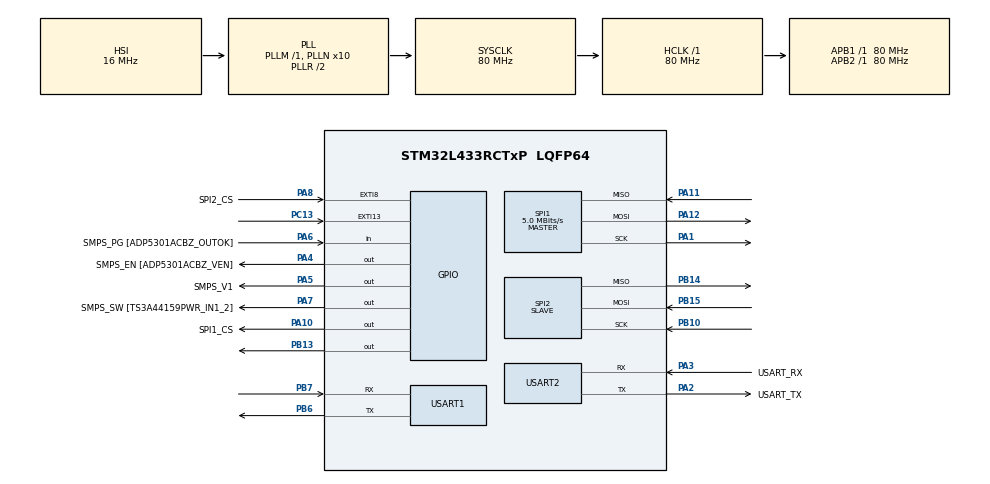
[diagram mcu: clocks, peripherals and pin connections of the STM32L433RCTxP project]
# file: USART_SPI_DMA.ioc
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Dma.Request0=SPI1_RX
Dma.Request1=SPI1_TX
Dma.Request2=SPI2_RX
Dma.Request3=SPI2_TX
Dma.SPI1_RX.0.Direction=DMA_PERIPH_TO_MEMORY
Dma.SPI1_RX.0.Instance=DMA1_Channel2
Dma.SPI1_RX.0.MemDataAlignment=DMA_MDATAALIGN_BYTE
Dma.SPI1_RX.0.MemInc=DMA_MINC_ENABLE
Dma.SPI1_RX.0.Mode=DMA_NORMAL
Dma.SPI1_RX.0.PeriphDataAlignment=DMA_PDATAALIGN_BYTE
Dma.SPI1_RX.0.PeriphInc=DMA_PINC_DISABLE
Dma.SPI1_RX.0.Priority=DMA_PRIORITY_LOW
Dma.SPI1_TX.1.Direction=DMA_MEMORY_TO_PERIPH
Dma.SPI1_TX.1.Instance=DMA1_Channel3
Dma.SPI1_TX.1.MemDataAlignment=DMA_MDATAALIGN_BYTE
Dma.SPI1_TX.1.MemInc=DMA_MINC_ENABLE
Dma.SPI1_TX.1.Mode=DMA_NORMAL
Dma.SPI1_TX.1.PeriphDataAlignment=DMA_PDATAALIGN_BYTE
Dma.SPI1_TX.1.PeriphInc=DMA_PINC_DISABLE
Dma.SPI1_TX.1.Priority=DMA_PRIORITY_LOW
Dma.SPI2_RX.2.Direction=DMA_PERIPH_TO_MEMORY
Dma.SPI2_RX.2.Instance=DMA1_Channel4
Dma.SPI2_RX.2.MemDataAlignment=DMA_MDATAALIGN_BYTE
Dma.SPI2_RX.2.MemInc=DMA_MINC_ENABLE
Dma.SPI2_RX.2.Mode=DMA_NORMAL
Dma.SPI2_RX.2.PeriphDataAlignment=DMA_PDATAALIGN_BYTE
Dma.SPI2_RX.2.PeriphInc=DMA_PINC_DISABLE
Dma.SPI2_RX.2.Priority=DMA_PRIORITY_LOW
Dma.SPI2_TX.3.Direction=DMA_MEMORY_TO_PERIPH
Dma.SPI2_TX.3.Instance=DMA1_Channel5
Dma.SPI2_TX.3.MemDataAlignment=DMA_MDATAALIGN_BYTE
Dma.SPI2_TX.3.MemInc=DMA_MINC_ENABLE
Dma.SPI2_TX.3.Mode=DMA_NORMAL
Dma.SPI2_TX.3.PeriphDataAlignment=DMA_PDATAALIGN_BYTE
Dma.SPI2_TX.3.PeriphInc=DMA_PINC_DISABLE
Dma.SPI2_TX.3.Priority=DMA_PRIORITY_LOW
Mcu.Family=STM32L4
Mcu.Name=STM32L433RCTxP
Mcu.Package=LQFP64
NVIC.DMA1_Channel2_IRQn=true\:0\:0\:false\:false\:true\:false\:true\:true
NVIC.DMA1_Channel3_IRQn=true\:0\:0\:false\:false\:true\:false\:true\:true
NVIC.DMA1_Channel4_IRQn=true\:0\:0\:false\:false\:true\:false\:true\:true
NVIC.DMA1_Channel5_IRQn=true\:0\:0\:false\:false\:true\:false\:true\:true
NVIC.EXTI15_10_IRQn=true\:0\:0\:false\:false\:true\:true\:true\:true
NVIC.EXTI9_5_IRQn=true\:0\:0\:false\:false\:true\:true\:true\:true
NVIC.PriorityGroup=NVIC_PRIORITYGROUP_4
NVIC.USART1_IRQn=true\:0\:0\:false\:false\:true\:true\:true\:true
NVIC.USART2_IRQn=true\:0\:0\:false\:false\:true\:true\:true\:true
PA1.Mode=Full_Duplex_Master
PA1.Signal=SPI1_SCK
PA10.GPIO_Label=SPI1_CS
PA10.PinState=GPIO_PIN_SET
PA10.Signal=GPIO_Output
PA11.Mode=Full_Duplex_Master
PA11.Signal=SPI1_MISO
PA12.Mode=Full_Duplex_Master
PA12.Signal=SPI1_MOSI
PA14\ (JTCK-SWCLK).GPIO_Label=TCK
PA14\ (JTCK-SWCLK).Signal=SYS_JTCK-SWCLK
PA2.GPIO_Label=USART_TX
PA2.GPIO_Mode=GPIO_MODE_AF_PP
PA2.GPIO_PuPd=GPIO_NOPULL
PA2.GPIO_Speed=GPIO_SPEED_FREQ_VERY_HIGH
PA2.Mode=Asynchronous
PA2.Signal=USART2_TX
PA3.GPIO_Label=USART_RX
PA3.GPIO_Mode=GPIO_MODE_AF_PP
PA3.GPIO_PuPd=GPIO_NOPULL
PA3.GPIO_Speed=GPIO_SPEED_FREQ_VERY_HIGH
PA3.Mode=Asynchronous
PA3.Signal=USART2_RX
PA4.GPIO_Label=SMPS_EN [ADP5301ACBZ_VEN]
PA4.Signal=GPIO_Output
PA5.GPIO_Label=SMPS_V1
PA5.GPIO_ModeDefaultOutputPP=GPIO_MODE_OUTPUT_PP
PA5.GPIO_PuPd=GPIO_NOPULL
PA5.GPIO_Speed=GPIO_SPEED_FREQ_LOW
PA5.Signal=GPIO_Output
PA6.GPIO_Label=SMPS_PG [ADP5301ACBZ_OUTOK]
PA6.GPIO_PuPd=GPIO_PULLUP
PA6.Signal=GPIO_Input
PA7.GPIO_Label=SMPS_SW [TS3A44159PWR_IN1_2]
PA7.Signal=GPIO_Output
PA8.GPIO_Label=SPI2_CS
PA8.GPIO_ModeDefaultEXTI=GPIO_MODE_IT_FALLING
PA8.GPIO_PuPd=GPIO_PULLUP
PA8.Signal=GPXTI8
PB10.Mode=Full_Duplex_Slave
PB10.Signal=SPI2_SCK
PB13.Signal=GPIO_Output
PB14.Mode=Full_Duplex_Slave
PB14.Signal=SPI2_MISO
PB15.Mode=Full_Duplex_Slave
PB15.Signal=SPI2_MOSI
PB3\ (JTDO-TRACESWO).GPIO_Label=SWO
PB3\ (JTDO-TRACESWO).Signal=SYS_JTDO-SWO
PB6.Mode=Asynchronous
PB6.Signal=USART1_TX
PB7.Mode=Asynchronous
PB7.Signal=USART1_RX
PC13.GPIO_ModeDefaultEXTI=GPIO_MODE_IT_RISING
PC13.Signal=GPXTI13
PC14-OSC32_IN\ (PC14).Mode=LSE-External-Oscillator
PC14-OSC32_IN\ (PC14).Signal=RCC_OSC32_IN
PC15-OSC32_OUT\ (PC15).Mode=LSE-External-Oscillator
PC15-OSC32_OUT\ (PC15).Signal=RCC_OSC32_OUT
PH0-OSC_IN\ (PH0).GPIO_Label=MCO
PH0-OSC_IN\ (PH0).Mode=HSE-External-Clock-Source
PH0-OSC_IN\ (PH0).Signal=RCC_OSC_IN
PH1-OSC_OUT\ (PH1).Signal=RCC_OSC_OUT
ProjectManager.HeapSize=0x200
ProjectManager.StackSize=0x400
ProjectManager.TargetToolchain=EWARM V8.32
RCC.ADCFreq_Value=64000000
RCC.AHBFreq_Value=80000000
RCC.APB1Freq_Value=80000000
RCC.APB1TimFreq_Value=80000000
RCC.APB2Freq_Value=80000000
RCC.APB2TimFreq_Value=80000000
RCC.CortexFreq_Value=80000000
RCC.HCLKFreq_Value=80000000
RCC.HSE_VALUE=8000000
RCC.HSI48_VALUE=48000000
RCC.HSI_VALUE=16000000
RCC.MSI_VALUE=4000000
RCC.PLLN=10
RCC.PLLSourceVirtual=RCC_PLLSOURCE_HSI
RCC.PREFETCH_ENABLE=1
RCC.SYSCLKFreq_VALUE=80000000
RCC.SYSCLKSource=RCC_SYSCLKSOURCE_PLLCLK
RCC.USBFreq_Value=64000000
RCC.VCOOutputFreq_Value=160000000
SPI1.BaudRatePrescaler=SPI_BAUDRATEPRESCALER_16
SPI1.CLKPhase=SPI_PHASE_2EDGE
SPI1.CalculateBaudRate=5.0 MBits/s
SPI1.DataSize=SPI_DATASIZE_8BIT
SPI1.Direction=SPI_DIRECTION_2LINES
SPI1.Mode=SPI_MODE_MASTER
SPI1.VirtualType=VM_MASTER
SPI2.CLKPhase=SPI_PHASE_2EDGE
SPI2.DataSize=SPI_DATASIZE_8BIT
SPI2.Direction=SPI_DIRECTION_2LINES
SPI2.Mode=SPI_MODE_SLAVE
SPI2.VirtualType=VM_SLAVE
USART1.VirtualMode-Asynchronous=VM_ASYNC
USART2.VirtualMode-Asynchronous=VM_ASYNC
board=NUCLEO-L433RC-P

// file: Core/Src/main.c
/* USER CODE BEGIN Header */
/**
******************************************************************************
* @file           : main.c
* @brief          : Main program body
******************************************************************************
* @attention
*
* Copyright (c) 2022 STMicroelectronics.
* All rights reserved.
*
* This software is licensed under terms that can be found in the LICENSE file
* in the root directory of this software component.
* If no LICENSE file comes with this software, it is provided AS-IS.
*
******************************************************************************
*/
/* USER CODE END Header */
#include "main.h"

SPI_HandleTypeDef hspi1;
SPI_HandleTypeDef hspi2;
DMA_HandleTypeDef hdma_spi1_rx;
DMA_HandleTypeDef hdma_spi1_tx;
DMA_HandleTypeDef hdma_spi2_rx;
DMA_HandleTypeDef hdma_spi2_tx;

UART_HandleTypeDef huart1;
UART_HandleTypeDef huart2;

/* USER CODE BEGIN PV */

uint8_t Test_rx[10];
uint8_t temp_rx1;
uint8_t tmep_rx2;
uint8_t temp_tx;
uint8_t temp_dumy=0;

uint8_t master_buf_len;
uint8_t slave_buf_len;

#define MAX_BUFFER_SIZE (256)

typedef struct{
  uint8_t head;
  uint8_t tail;
  uint8_t len;
  uint8_t buffer[MAX_BUFFER_SIZE];
}uart_buf;

uart_buf master_buf;
uart_buf slave_buf;

void init_C_que(uart_buf* u)
{
  u->head = 0;
  u->tail = 0;
  u->len = 0;
  memset(u->buffer, 0, sizeof(u->buffer));
}

void push(uart_buf* u, uint8_t data)
{
  u->buffer[u->head] = data;
  u->head++;
  u->len++;

  if (u->head >= MAX_BUFFER_SIZE) {
    u->head = 0;
  }
}

uint8_t pop(uart_buf* u)
{
  uint8_t data = u->buffer[u->tail];

  u->tail++;
  u->len--;
  if (u->tail >= MAX_BUFFER_SIZE) {
    u->tail = 0;
  }

  return data;
}

uint8_t spi_data_send_flag=0;
uint8_t slave_send_flag=0;

uint8_t test_uart2=0;

void HAL_GPIO_EXTI_Callback(uint16_t GPIO_Pin){
  if(GPIO_Pin == GPIO_PIN_8){
    // Falling Edge Intrrupt
    if(slave_send_flag == 0) spi_data_send_flag =1;

  }

}
void HAL_UART_RxCpltCallback(UART_HandleTypeDef *huart)
{
  // USART1 Rx Interrupt
  // PORT 5
  // SPI Master
  if (huart->Instance == USART1) {
    push(&master_buf, temp_rx1);
    HAL_UART_Receive_IT(&huart1, &temp_rx1, 1);

  }
  if(huart->Instance == USART2){
    // PORT 3
    // SPI Slave
    test_uart2++;
    push(&slave_buf,tmep_rx2);
    HAL_UART_Receive_IT(&huart2, &tmep_rx2, 1);

  }

}
/* USER CODE END PV */

void SystemClock_Config(void);
static void MX_GPIO_Init(void);
static void MX_DMA_Init(void);
static void MX_USART2_UART_Init(void);
static void MX_SPI2_Init(void);
static void MX_SPI1_Init(void);
static void MX_USART1_UART_Init(void);

uint8_t test=0;
int main(void)
{

  /* MCU Configuration--------------------------------------------------------*/

  /* Reset of all peripherals, Initializes the Flash interface and the Systick. */
  HAL_Init();

  /* Configure the system clock */
  SystemClock_Config();

  /* Initialize all configured peripherals */
  MX_GPIO_Init();
  MX_DMA_Init();
  MX_USART2_UART_Init();
  MX_SPI2_Init();
  MX_SPI1_Init();
  MX_USART1_UART_Init();

  /* Infinite loop */
  /* USER CODE BEGIN WHILE */

  uint8_t buf_data;
  uint8_t spi_send_data; // spi master-send / slave-read
  uint8_t spi_read_data;// spi slave-send / master-read

  HAL_UART_Transmit(&huart1,"input data : ",15,100);
  HAL_UART_Transmit(&huart2,"input data : ",15,100);

  HAL_UART_Receive_IT(&huart1, &temp_rx1, 1);
  HAL_UART_Receive_IT(&huart2, &tmep_rx2, 1);

  init_C_que(&master_buf);
  init_C_que(&slave_buf);
  while (1)
  {

    if(spi_data_send_flag == 1){
      HAL_SPI_Receive_DMA(&hspi2, &spi_send_data, 1); // SPI Slave Read
      HAL_UART_Transmit(&huart2,&spi_send_data,1,100); // UART2 Send
      spi_data_send_flag=0;
    }

    if(master_buf.head != master_buf.tail){
      buf_data = pop(&master_buf);

      HAL_GPIO_WritePin(GPIOA,GPIO_PIN_10,GPIO_PIN_SET); //CS LOW
      HAL_SPI_Transmit_DMA(&hspi1, &buf_data, 1); // SPI Master Send
      HAL_GPIO_WritePin(GPIOA,GPIO_PIN_10,GPIO_PIN_RESET); //CS HIGH
    }

    if(slave_buf.head != slave_buf.tail){
      buf_data = pop(&slave_buf);
      slave_send_flag=1;

      HAL_SPI_Transmit(&hspi2, &buf_data, 1,1); // SPI Master Send
      HAL_SPI_Receive_DMA(&hspi1,&spi_read_data, 1);// SPI Master dumy-send/data-read

      HAL_UART_Transmit(&huart1,&spi_read_data,1,100); // UART2 Send
      slave_send_flag=0;
    }

    /* USER CODE END WHILE */
  }
}

void SystemClock_Config(void)
{
  RCC_OscInitTypeDef RCC_OscInitStruct = {0};
  RCC_ClkInitTypeDef RCC_ClkInitStruct = {0};

  /** Configure the main internal regulator output voltage
  */
  if (HAL_PWREx_ControlVoltageScaling(PWR_REGULATOR_VOLTAGE_SCALE1) != HAL_OK)
  {
    Error_Handler();
  }

  /** Initializes the RCC Oscillators according to the specified parameters
  * in the RCC_OscInitTypeDef structure.
  */
  RCC_OscInitStruct.OscillatorType = RCC_OSCILLATORTYPE_HSI;
  RCC_OscInitStruct.HSIState = RCC_HSI_ON;
  RCC_OscInitStruct.HSICalibrationValue = RCC_HSICALIBRATION_DEFAULT;
  RCC_OscInitStruct.PLL.PLLState = RCC_PLL_ON;
  RCC_OscInitStruct.PLL.PLLSource = RCC_PLLSOURCE_HSI;
  RCC_OscInitStruct.PLL.PLLM = 1;
  RCC_OscInitStruct.PLL.PLLN = 10;
  RCC_OscInitStruct.PLL.PLLP = RCC_PLLP_DIV7;
  RCC_OscInitStruct.PLL.PLLQ = RCC_PLLQ_DIV2;
  RCC_OscInitStruct.PLL.PLLR = RCC_PLLR_DIV2;
  if (HAL_RCC_OscConfig(&RCC_OscInitStruct) != HAL_OK)
  {
    Error_Handler();
  }

  /** Initializes the CPU, AHB and APB buses clocks
  */
  RCC_ClkInitStruct.ClockType = RCC_CLOCKTYPE_HCLK|RCC_CLOCKTYPE_SYSCLK
    |RCC_CLOCKTYPE_PCLK1|RCC_CLOCKTYPE_PCLK2;
  RCC_ClkInitStruct.SYSCLKSource = RCC_SYSCLKSOURCE_PLLCLK;
  RCC_ClkInitStruct.AHBCLKDivider = RCC_SYSCLK_DIV1;
  RCC_ClkInitStruct.APB1CLKDivider = RCC_HCLK_DIV1;
  RCC_ClkInitStruct.APB2CLKDivider = RCC_HCLK_DIV1;

  if (HAL_RCC_ClockConfig(&RCC_ClkInitStruct, FLASH_LATENCY_4) != HAL_OK)
  {
    Error_Handler();
  }
}

static void MX_SPI1_Init(void)
{

  /* SPI1 parameter configuration*/
  hspi1.Instance = SPI1;
  hspi1.Init.Mode = SPI_MODE_MASTER;
  hspi1.Init.Direction = SPI_DIRECTION_2LINES;
  hspi1.Init.DataSize = SPI_DATASIZE_8BIT;
  hspi1.Init.CLKPolarity = SPI_POLARITY_LOW;
  hspi1.Init.CLKPhase = SPI_PHASE_2EDGE;
  hspi1.Init.NSS = SPI_NSS_SOFT;
  hspi1.Init.BaudRatePrescaler = SPI_BAUDRATEPRESCALER_16;
  hspi1.Init.FirstBit = SPI_FIRSTBIT_MSB;
  hspi1.Init.TIMode = SPI_TIMODE_DISABLE;
  hspi1.Init.CRCCalculation = SPI_CRCCALCULATION_DISABLE;
  hspi1.Init.CRCPolynomial = 7;
  hspi1.Init.CRCLength = SPI_CRC_LENGTH_DATASIZE;
  hspi1.Init.NSSPMode = SPI_NSS_PULSE_DISABLE;
  if (HAL_SPI_Init(&hspi1) != HAL_OK)
  {
    Error_Handler();
  }

}

static void MX_SPI2_Init(void)
{

  /* SPI2 parameter configuration*/
  hspi2.Instance = SPI2;
  hspi2.Init.Mode = SPI_MODE_SLAVE;
  hspi2.Init.Direction = SPI_DIRECTION_2LINES;
  hspi2.Init.DataSize = SPI_DATASIZE_8BIT;
  hspi2.Init.CLKPolarity = SPI_POLARITY_LOW;
  hspi2.Init.CLKPhase = SPI_PHASE_2EDGE;
  hspi2.Init.NSS = SPI_NSS_SOFT;
  hspi2.Init.FirstBit = SPI_FIRSTBIT_MSB;
  hspi2.Init.TIMode = SPI_TIMODE_DISABLE;
  hspi2.Init.CRCCalculation = SPI_CRCCALCULATION_DISABLE;
  hspi2.Init.CRCPolynomial = 7;
  hspi2.Init.CRCLength = SPI_CRC_LENGTH_DATASIZE;
  hspi2.Init.NSSPMode = SPI_NSS_PULSE_DISABLE;
  if (HAL_SPI_Init(&hspi2) != HAL_OK)
  {
    Error_Handler();
  }

}

static void MX_USART1_UART_Init(void)
{

  huart1.Instance = USART1;
  huart1.Init.BaudRate = 115200;
  huart1.Init.WordLength = UART_WORDLENGTH_8B;
  huart1.Init.StopBits = UART_STOPBITS_1;
  huart1.Init.Parity = UART_PARITY_NONE;
  huart1.Init.Mode = UART_MODE_TX_RX;
  huart1.Init.HwFlowCtl = UART_HWCONTROL_NONE;
  huart1.Init.OverSampling = UART_OVERSAMPLING_16;
  huart1.Init.OneBitSampling = UART_ONE_BIT_SAMPLE_DISABLE;
  huart1.AdvancedInit.AdvFeatureInit = UART_ADVFEATURE_NO_INIT;
  if (HAL_UART_Init(&huart1) != HAL_OK)
  {
    Error_Handler();
  }

}

static void MX_USART2_UART_Init(void)
{

  huart2.Instance = USART2;
  huart2.Init.BaudRate = 115200;
  huart2.Init.WordLength = UART_WORDLENGTH_8B;
  huart2.Init.StopBits = UART_STOPBITS_1;
  huart2.Init.Parity = UART_PARITY_NONE;
  huart2.Init.Mode = UART_MODE_TX_RX;
  huart2.Init.HwFlowCtl = UART_HWCONTROL_NONE;
  huart2.Init.OverSampling = UART_OVERSAMPLING_16;
  huart2.Init.OneBitSampling = UART_ONE_BIT_SAMPLE_DISABLE;
  huart2.AdvancedInit.AdvFeatureInit = UART_ADVFEATURE_NO_INIT;
  if (HAL_UART_Init(&huart2) != HAL_OK)
  {
    Error_Handler();
  }

}

static void MX_DMA_Init(void)
{

  /* DMA controller clock enable */
  __HAL_RCC_DMA1_CLK_ENABLE();

  /* DMA interrupt init */
  /* DMA1_Channel2_IRQn interrupt configuration */
  HAL_NVIC_SetPriority(DMA1_Channel2_IRQn, 0, 0);
  HAL_NVIC_EnableIRQ(DMA1_Channel2_IRQn);
  /* DMA1_Channel3_IRQn interrupt configuration */
  HAL_NVIC_SetPriority(DMA1_Channel3_IRQn, 0, 0);
  HAL_NVIC_EnableIRQ(DMA1_Channel3_IRQn);
  /* DMA1_Channel4_IRQn interrupt configuration */
  HAL_NVIC_SetPriority(DMA1_Channel4_IRQn, 0, 0);
  HAL_NVIC_EnableIRQ(DMA1_Channel4_IRQn);
  /* DMA1_Channel5_IRQn interrupt configuration */
  HAL_NVIC_SetPriority(DMA1_Channel5_IRQn, 0, 0);
  HAL_NVIC_EnableIRQ(DMA1_Channel5_IRQn);

}

static void MX_GPIO_Init(void)
{
  GPIO_InitTypeDef GPIO_InitStruct = {0};

  /* GPIO Ports Clock Enable */
  __HAL_RCC_GPIOC_CLK_ENABLE();
  __HAL_RCC_GPIOH_CLK_ENABLE();
  __HAL_RCC_GPIOA_CLK_ENABLE();
  __HAL_RCC_GPIOB_CLK_ENABLE();

  /*Configure GPIO pin Output Level */
  HAL_GPIO_WritePin(GPIOA, SMPS_EN_Pin|SMPS_V1_Pin|SMPS_SW_Pin, GPIO_PIN_RESET);

  /*Configure GPIO pin Output Level */
  HAL_GPIO_WritePin(GPIOB, GPIO_PIN_13, GPIO_PIN_RESET);

  /*Configure GPIO pin Output Level */
  HAL_GPIO_WritePin(SPI1_CS_GPIO_Port, SPI1_CS_Pin, GPIO_PIN_SET);

  /*Configure GPIO pin : PC13 */
  GPIO_InitStruct.Pin = GPIO_PIN_13;
  GPIO_InitStruct.Mode = GPIO_MODE_IT_RISING;
  GPIO_InitStruct.Pull = GPIO_NOPULL;
  HAL_GPIO_Init(GPIOC, &GPIO_InitStruct);

  /*Configure GPIO pins : SMPS_EN_Pin SMPS_V1_Pin SMPS_SW_Pin SPI1_CS_Pin */
  GPIO_InitStruct.Pin = SMPS_EN_Pin|SMPS_V1_Pin|SMPS_SW_Pin|SPI1_CS_Pin;
  GPIO_InitStruct.Mode = GPIO_MODE_OUTPUT_PP;
  GPIO_InitStruct.Pull = GPIO_NOPULL;
  GPIO_InitStruct.Speed = GPIO_SPEED_FREQ_LOW;
  HAL_GPIO_Init(GPIOA, &GPIO_InitStruct);

  /*Configure GPIO pin : SMPS_PG_Pin */
  GPIO_InitStruct.Pin = SMPS_PG_Pin;
  GPIO_InitStruct.Mode = GPIO_MODE_INPUT;
  GPIO_InitStruct.Pull = GPIO_PULLUP;
  HAL_GPIO_Init(SMPS_PG_GPIO_Port, &GPIO_InitStruct);

  /*Configure GPIO pin : PB13 */
  GPIO_InitStruct.Pin = GPIO_PIN_13;
  GPIO_InitStruct.Mode = GPIO_MODE_OUTPUT_PP;
  GPIO_InitStruct.Pull = GPIO_NOPULL;
  GPIO_InitStruct.Speed = GPIO_SPEED_FREQ_LOW;
  HAL_GPIO_Init(GPIOB, &GPIO_InitStruct);

  /*Configure GPIO pin : SPI2_CS_Pin */
  GPIO_InitStruct.Pin = SPI2_CS_Pin;
  GPIO_InitStruct.Mode = GPIO_MODE_IT_FALLING;
  GPIO_InitStruct.Pull = GPIO_PULLUP;
  HAL_GPIO_Init(SPI2_CS_GPIO_Port, &GPIO_InitStruct);

  /* EXTI interrupt init*/
  HAL_NVIC_SetPriority(EXTI9_5_IRQn, 0, 0);
  HAL_NVIC_EnableIRQ(EXTI9_5_IRQn);

  HAL_NVIC_SetPriority(EXTI15_10_IRQn, 0, 0);
  HAL_NVIC_EnableIRQ(EXTI15_10_IRQn);

}

void Error_Handler(void)
{
  __disable_irq();
  while (1)
  {
  }
}
